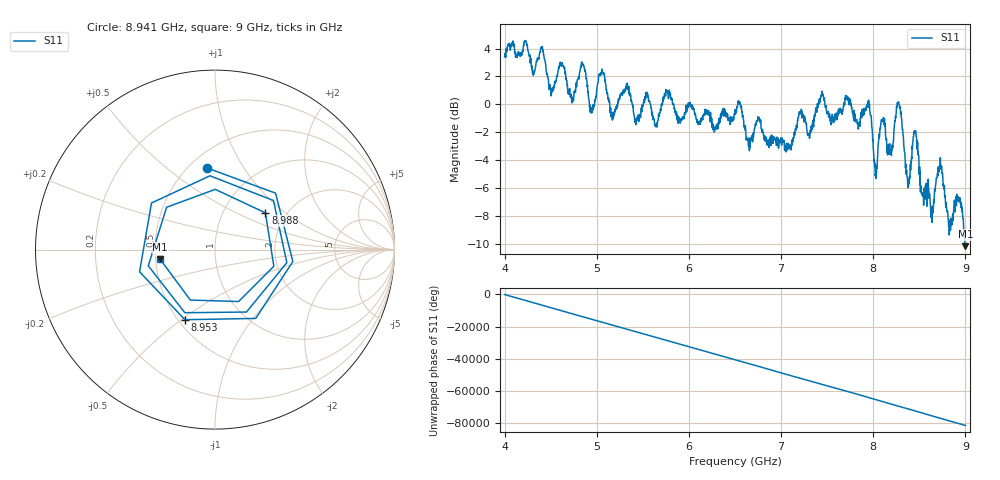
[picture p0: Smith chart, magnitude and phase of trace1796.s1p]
! Created with skrf 1.8.0 (http://scikit-rf.org).
# Hz S RI R 50.0
!freq ReS11 ImS11
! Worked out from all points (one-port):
!   1601 points, 4 GHz to 9 GHz, reference 50 ohm
!   lowest |S11| = -10.2 dB at 9 GHz (marker M1), VSWR 1.90, Z = 26.5 - j3.19 ohm
!   |S11| at or under -10 dB: 8.994916 GHz to end of sweep
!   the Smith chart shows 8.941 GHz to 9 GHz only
!   S11 on the Smith chart (normalised r, x): 8.941 GHz: 0.61, +0.70; 8.953 GHz: 0.54, -0.52; 8.988 GHz: 1.57, +0.73; 9 GHz: 0.53, -0.06
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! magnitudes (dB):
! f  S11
! 4 GHz  3.4
! 4.403 GHz  4.0
! 4.506 GHz  0.6
! 4.625 GHz  3.0
! 4.734 GHz  0.3
! 4.856 GHz  2.8
! 4.944 GHz  -0.5
! 5.047 GHz  2.3
! 5.166 GHz  -0.6
! 5.25 GHz  0.6
! 5.875 GHz  -0.9
! 6.5 GHz  -0.5
! 7.125 GHz  -2.6
! 7.75 GHz  0.2
! 7.953 GHz  0.1
! 8.025 GHz  -5.0
! 8.097 GHz  -1.2
! 8.194 GHz  -3.3
! 8.278 GHz  0.0
! 8.375 GHz  -5.9
! 8.456 GHz  -2.1
! 8.631 GHz  -7.9
! 8.728 GHz  -3.8
! 8.834 GHz  -8.3
! 8.941 GHz  -6.8
! 8.953 GHz  -7.4
! 8.988 GHz  -9.2
! 9 GHz  -10.2
